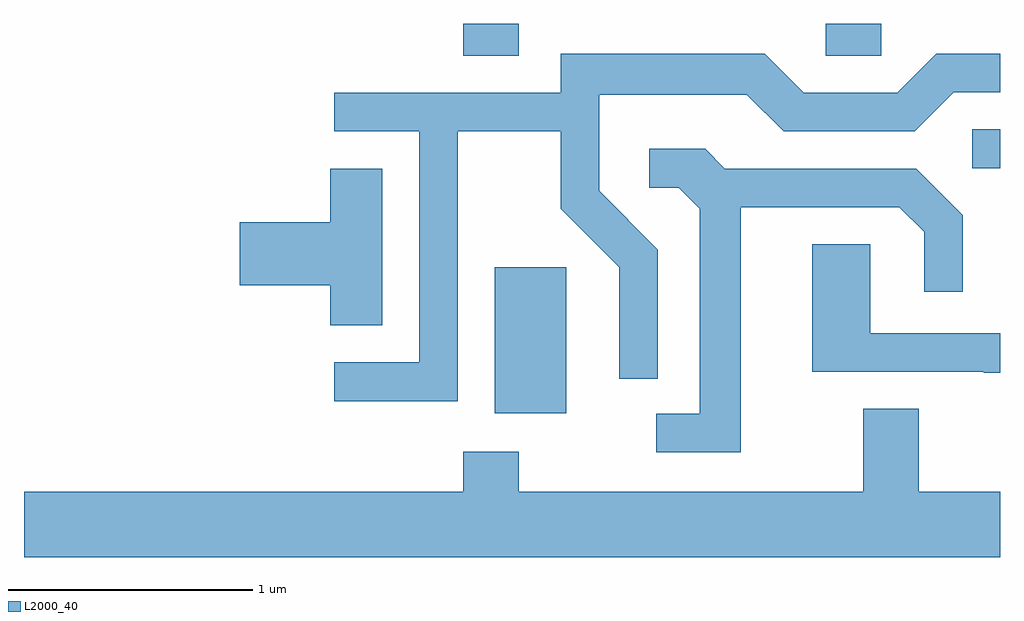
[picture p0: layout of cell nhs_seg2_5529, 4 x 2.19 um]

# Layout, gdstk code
import gdstk
lib = gdstk.Library(unit=1e-6, precision=1e-09)
def R(c, l, rs):  # rectangles x0, y0, x1, y1
    for r in rs: c.add(gdstk.rectangle(r[:2], r[2:], *l))
def P(c, l, *ps):  # polygons
    for p in ps: c.add(gdstk.Polygon(p, *l))
L2000_40 = (2000, 40)

nhs_seg2_5529 = lib.new_cell('nhs_seg2_5529')
R(nhs_seg2_5529, L2000_40, [(349.541,1082.206,349.834,1082.804), (351.498,1083.211,351.611,1083.369), (349.411,1083.671,349.639,1083.802), (350.896,1083.671,351.124,1083.802)])
P(nhs_seg2_5529, L2000_40, [(349.389,1083.361),(349.811,1083.361),(349.811,1083.044),(350.051,1082.804),(350.051,1082.348),(350.209,1082.348),(350.209,1082.877),(349.969,1083.117),(349.969,1083.511),(350.574,1083.511),(350.724,1083.361),(351.262,1083.361),(351.422,1083.521),(351.611,1083.521),(351.611,1083.679),(351.349,1083.679),(351.189,1083.519),(350.807,1083.519),(350.647,1083.679),(349.811,1083.679),(349.811,1083.519),(348.883,1083.519),(348.883,1083.361),(349.231,1083.361),(349.231,1082.414),(348.883,1082.414),(348.883,1082.256),(349.389,1082.256)],
  [(350.549,1083.051),(351.199,1083.051),(351.301,1082.949),(351.301,1082.703),(351.459,1082.703),(351.459,1083.017),(351.267,1083.209),(350.482,1083.209),(350.402,1083.289),(350.173,1083.289),(350.173,1083.131),(350.294,1083.131),(350.381,1083.044),(350.381,1082.204),(350.203,1082.204),(350.203,1082.046),(350.549,1082.046)],
  [(349.079,1083.209),(348.866,1083.209),(348.866,1082.989),(348.496,1082.989),(348.496,1082.731),(348.866,1082.731),(348.866,1082.566),(349.079,1082.566)],
  [(351.611,1082.534),(351.079,1082.534),(351.079,1082.899),(350.841,1082.899),(350.841,1082.376),(351.545,1082.376),(351.545,1082.371),(351.611,1082.371)],
  [(351.611,1081.884),(351.279,1081.884),(351.279,1082.224),(351.051,1082.224),(351.051,1081.884),(349.639,1081.884),(349.639,1082.049),(349.411,1082.049),(349.411,1081.884),(347.611,1081.884),(347.611,1081.616),(351.611,1081.616)])

lib.write_gds('nhs_seg2_5529.gds')
